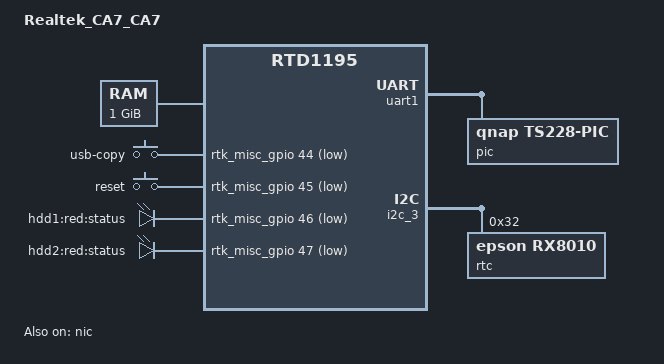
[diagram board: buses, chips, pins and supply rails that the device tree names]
/*
 *
 */

/dts-v1/;

#include <dt-bindings/input/input.h>

/memreserve/ 0x18100000     0x01000000;	/* NOR */

#include <dt-bindings/gpio/gpio.h>
#include "rtd119x/rtd-119x.dtsi"
#include "rtd119x/rtd-1195-usb.dtsi"

/ {
	model= "Realtek_CA7_CA7";
	compatible = "realtek,rtd1195";

	aliases {
		serial0 = &uart0;
		serial1 = &uart1;
	};

	chosen {
		/*
		 * Provide earlycon + extras only. Do not repeat console=ttyS0 here:
		 * U-Boot already passes console=, and CONFIG_CMDLINE_EXTEND would
		 * otherwise register the console twice (doubled printk output).
		 *
		 * USB rescue: PARTUUID=f04240a9-02 (GPT on sdc). eMMC is mmcblk1
		 * (MBR); native eMMC root needs the rtkemmc module in initramfs
		 * and root=/dev/mmcblk1p2 (see linux-3.10 CONFIG_CMDLINE).
		 */
		bootargs = "earlycon=uart8250,mmio32,0x18007800 loglevel=4 quiet clk_ignore_unused root=PARTUUID=f04240a9-02 init=/usr/sbin/init rootwait rw";
		stdout-path = "serial0:115200n8";
		linux,initrd-start = <0x02200000>;
		linux,initrd-end = <0x02600000>;
	};

	memory {
		device_type = "memory";
		reg =  <0x00000000 0x40000000>;					/* 1024 MB */
	};


	/*
	 * Vendor quirk: early USB mass-storage unbind + msleep(10000) before
	 * rebind (rtk-usb-manager). That delays root-on-USB by ~10s. Not needed
	 * for openSUSE on a stick; leave shared rtd-119x-usb.dtsi alone.
	 */

	/*
	 * Front-panel GPIO from stock model_QX421_12.conf (GPIO:I2x → misc hex pin):
	 *   USB_COPY_BUTTON = GPIO:I2C:P → misc 44 (0x2c)
	 *   RESET_BUTTON    = GPIO:I2D:P → misc 45 (0x2d)
	 *   disk1 ERR_LED   = GPIO:I2E:P → misc 46 (0x2e)
	 *   disk2 ERR_LED   = GPIO:I2F:P → misc 47 (0x2f)
	 *
	 * Realtek gpio cells are <pin dir default>; input <pin 0 1> = active-low.
	 * Disk bay LEDs are bi-color on one GPIO: stock HAL :P inverts so ERR on
	 * drives the line low (red); deasserted/high shows green. No PRESENT_LED
	 * in the model file. Encode as <pin 1 2> (active-low out, idle high).
	 * Buzzer is on the PIC (opcodes 0x50/0x51), not a SoC GPIO.
	 */
	gpio_keys: gpio-keys {
		compatible = "gpio-keys";
		autorepeat;

		usb-copy {
			label = "usb-copy";
			linux,code = <KEY_COPY>;
			gpios = <&rtk_misc_gpio 44 GPIO_ACTIVE_LOW>;
			debounce-interval = <50>;
		};

		reset {
			label = "reset";
			linux,code = <KEY_RESTART>;
			gpios = <&rtk_misc_gpio 45 GPIO_ACTIVE_LOW>;
			debounce-interval = <50>;
		};
	};

	gpio_leds: gpio-leds {
		compatible = "gpio-leds";

		/*
		 * on = red (error); off = green (OK). Same physical LED.
		 * Named hddN:red:status to match mainline's leds-qnap-mcu.c
		 * naming for the equivalent per-bay error LED on TS-233/TS-433.
		 */
		disk1_err {
			label = "hdd1:red:status";
			gpios = <&rtk_misc_gpio 46 GPIO_ACTIVE_LOW>;
			default-state = "off";
		};

		disk2_err {
			label = "hdd2:red:status";
			gpios = <&rtk_misc_gpio 47 GPIO_ACTIVE_LOW>;
			default-state = "off";
		};
	};

};

&uart1 {
	status = "okay";

	/* QNAP TS-228 front-panel PIC (fan, temperature) on UART1 */
	pic {
		compatible = "qnap,ts228-pic";
		#address-cells = <1>;
		#size-cells = <1>;

		fan_0: fan-0 {
			cooling-levels = <0 64 128 192 255>;
			#cooling-cells = <2>;
		};

		/*
		 * PIC EEPROM MAC is stored as 6 bytes (binary) in this NVMEM
		 * provider's logical address space.
		 */
		mac_cell: mac-address@0 {
			reg = <0x0 0x6>;
		};
	};
};

&cpu_thermal {
	trips {
		/* Start ramping the system fan before the SoC gets hot. */
		fan_on: fan-on {
			temperature = <55000>;
			hysteresis = <3000>;
			type = "passive";
		};
	};
	cooling-maps {
		fan_map0 {
			trip = <&fan_on>;
			cooling-device = <&fan_0 0 4>;
			contribution = <1024>;
		};
	};
};

/*
 * The shared rtd-119x.dtsi leaves i2c_pins_3 unmuxed; the vendor TS-X28 DTB
 * muxes it, which is what puts the RX-8010 on the wire. The whole list has to
 * be restated because a DT property is replaced wholesale, not merged.
 *
 * Fan is controlled by the QNAP MCU on UART1, not the SoC PWM block.
 */
&pinctrl_crt {
	pinctrl-0 = <&i2c_pins_1>, <&i2c_pins_3>, <&i2c_pins_5>, <&mmc_pins>;
};

&pinctrl_iso {
	pinctrl-0 = <&ir_rx_pins>, <&ir_tx_pins>,
		<&i2c_pins_0>, <&i2c_pins_6>,
		<&uart1_pins_loc_iso>, <&uart1_flow_pins>, <&uart1_loc_pins>,
		<&vfd_pins>;
};

/* I2C3 carries the Epson RX-8010 RTC, as on the vendor kernel. */
&i2c_3 {
	status = "okay";

	rtc@32 {
		compatible = "epson,rx8010";
		reg = <0x32>;
	};
};

&dwc3 {
	/* usb3 power, output, default low */
	realtek,rst-gpio = <&rtk_misc_gpio 5 GPIO_ACTIVE_HIGH>;

	dwc3@18020000 {
		dr_mode = "host";
	};
};

&nic {
	rtl-features = <2>;

	/*
	 * The MAC address lives in the PIC's EEPROM as 18 bytes of ASCII at
	 * offset 0x10; the PIC driver exposes it as an NVMEM provider, so the
	 * address itself is read from the hardware rather than written here.
	 */
	nvmem-cells = <&mac_cell>;
	nvmem-cell-names = "mac-address";

	status = "okay";
};

/*
 * The ACPU runs its own firmware out of these two regions whether or not
 * Linux talks to it, so take them out of the linear map. rtd1195.dtsi
 * describes them, but without no-map.
 */
&rpc_comm {
	no-map;
};

&rpc_ringbuf {
	no-map;
};
